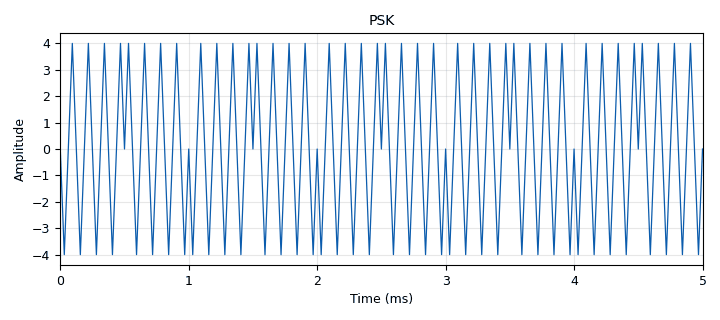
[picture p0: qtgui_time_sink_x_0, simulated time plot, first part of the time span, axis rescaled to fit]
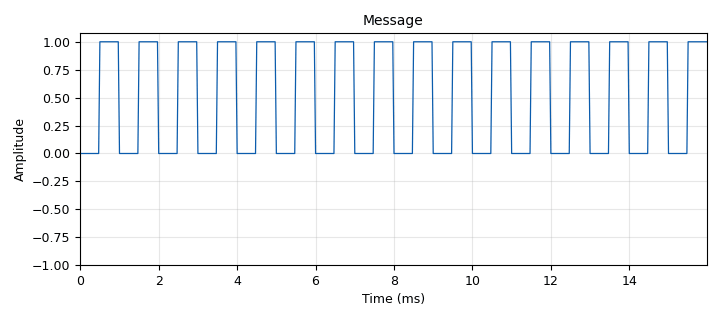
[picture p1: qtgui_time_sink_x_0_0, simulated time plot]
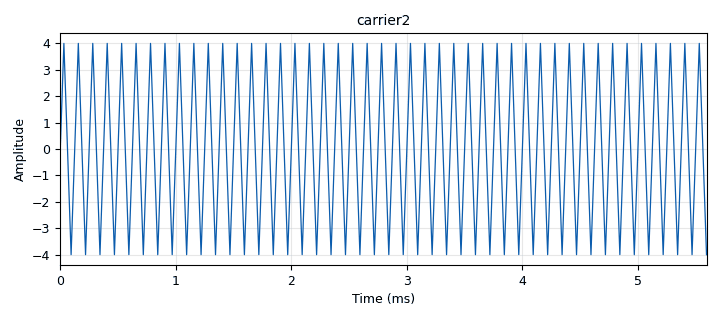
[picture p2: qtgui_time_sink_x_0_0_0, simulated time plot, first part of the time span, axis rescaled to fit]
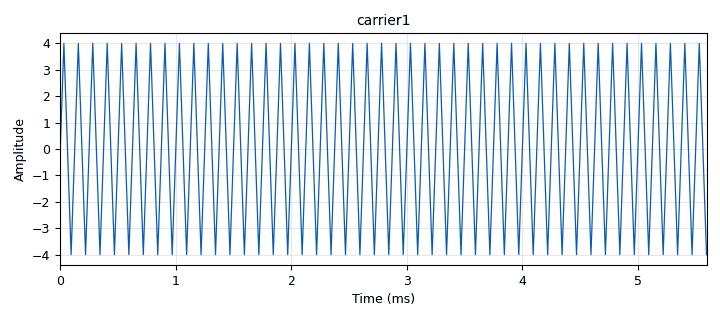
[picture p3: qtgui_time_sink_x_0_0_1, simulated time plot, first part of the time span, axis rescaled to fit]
<?xml version='1.0' encoding='utf-8'?>
<?grc format='1' created='3.7.9'?>
<flow_graph>
<block>
<key>options</key>
<param><key>id</key><value>top_block</value></param>
<param><key>category</key><value>Custom</value></param>
<param><key>generate_options</key><value>qt_gui</value></param>
</block>
<block>
<key>variable</key>
<param><key>id</key><value>numpoints</value></param>
<param><key>value</key><value>512</value></param>
</block>
<block>
<key>variable</key>
<param><key>id</key><value>samp_rate</value></param>
<param><key>value</key><value>32000</value></param>
</block>
<block>
<key>analog_sig_source_x</key>
<param><key>id</key><value>Carrier</value></param>
<param><key>amp</key><value>4</value></param>
<param><key>freq</key><value>8000</value></param>
<param><key>offset</key><value>0</value></param>
<param><key>type</key><value>float</value></param>
<param><key>samp_rate</key><value>samp_rate</value></param>
<param><key>waveform</key><value>analog.GR_SIN_WAVE</value></param>
</block>
<block>
<key>analog_sig_source_x</key>
<param><key>id</key><value>Message</value></param>
<param><key>amp</key><value>1</value></param>
<param><key>freq</key><value>1000</value></param>
<param><key>offset</key><value>0</value></param>
<param><key>type</key><value>float</value></param>
<param><key>samp_rate</key><value>samp_rate</value></param>
<param><key>waveform</key><value>analog.GR_SQR_WAVE</value></param>
</block>
<block>
<key>analog_sig_source_x</key>
<param><key>id</key><value>analog_sig_source_x_0</value></param>
<param><key>amp</key><value>4</value></param>
<param><key>freq</key><value>8000</value></param>
<param><key>offset</key><value>0</value></param>
<param><key>type</key><value>float</value></param>
<param><key>samp_rate</key><value>samp_rate</value></param>
<param><key>waveform</key><value>analog.GR_SIN_WAVE</value></param>
</block>
<block>
<key>blocks_add_xx</key>
<param><key>id</key><value>blocks_add_xx_0</value></param>
<param><key>type</key><value>float</value></param>
</block>
<block>
<key>blocks_delay</key>
<param><key>id</key><value>blocks_delay_0</value></param>
<param><key>delay</key><value>16</value></param>
<param><key>type</key><value>float</value></param>
</block>
<block>
<key>blocks_delay</key>
<param><key>id</key><value>blocks_delay_0_0</value></param>
<param><key>delay</key><value>2</value></param>
<param><key>type</key><value>float</value></param>
</block>
<block>
<key>blocks_multiply_xx</key>
<param><key>id</key><value>blocks_multiply_xx_0</value></param>
<param><key>type</key><value>float</value></param>
</block>
<block>
<key>blocks_multiply_xx</key>
<param><key>id</key><value>blocks_multiply_xx_1</value></param>
<param><key>type</key><value>float</value></param>
</block>
<block>
<key>blocks_throttle</key>
<param><key>id</key><value>blocks_throttle_0</value></param>
<param><key>samples_per_second</key><value>samp_rate</value></param>
<param><key>type</key><value>float</value></param>
</block>
<block>
<key>qtgui_time_sink_x</key>
<param><key>id</key><value>qtgui_time_sink_x_0</value></param>
<param><key>color1</key><value>"blue"</value></param>
<param><key>label1</key><value></value></param>
<param><key>name</key><value>PSK</value></param>
<param><key>size</key><value>numpoints</value></param>
<param><key>srate</key><value>samp_rate</value></param>
<param><key>type</key><value>float</value></param>
</block>
<block>
<key>qtgui_time_sink_x</key>
<param><key>id</key><value>qtgui_time_sink_x_0_0</value></param>
<param><key>color1</key><value>"blue"</value></param>
<param><key>label1</key><value></value></param>
<param><key>name</key><value>Message</value></param>
<param><key>size</key><value>numpoints</value></param>
<param><key>srate</key><value>samp_rate</value></param>
<param><key>type</key><value>float</value></param>
</block>
<block>
<key>qtgui_time_sink_x</key>
<param><key>id</key><value>qtgui_time_sink_x_0_0_0</value></param>
<param><key>color1</key><value>"blue"</value></param>
<param><key>label1</key><value></value></param>
<param><key>name</key><value>carrier2</value></param>
<param><key>size</key><value>numpoints</value></param>
<param><key>srate</key><value>samp_rate</value></param>
<param><key>type</key><value>float</value></param>
</block>
<block>
<key>qtgui_time_sink_x</key>
<param><key>id</key><value>qtgui_time_sink_x_0_0_1</value></param>
<param><key>color1</key><value>"blue"</value></param>
<param><key>label1</key><value></value></param>
<param><key>name</key><value>carrier1</value></param>
<param><key>size</key><value>numpoints</value></param>
<param><key>srate</key><value>samp_rate</value></param>
<param><key>type</key><value>float</value></param>
</block>
<connection><source_block_id>Carrier</source_block_id><sink_block_id>blocks_multiply_xx_0</sink_block_id><source_key>0</source_key><sink_key>0</sink_key></connection>
<connection><source_block_id>Carrier</source_block_id><sink_block_id>qtgui_time_sink_x_0_0_0</sink_block_id><source_key>0</source_key><sink_key>0</sink_key></connection>
<connection><source_block_id>Message</source_block_id><sink_block_id>blocks_delay_0</sink_block_id><source_key>0</source_key><sink_key>0</sink_key></connection>
<connection><source_block_id>Message</source_block_id><sink_block_id>blocks_multiply_xx_0</sink_block_id><source_key>0</source_key><sink_key>1</sink_key></connection>
<connection><source_block_id>Message</source_block_id><sink_block_id>qtgui_time_sink_x_0_0</sink_block_id><source_key>0</source_key><sink_key>0</sink_key></connection>
<connection><source_block_id>analog_sig_source_x_0</source_block_id><sink_block_id>blocks_delay_0_0</sink_block_id><source_key>0</source_key><sink_key>0</sink_key></connection>
<connection><source_block_id>analog_sig_source_x_0</source_block_id><sink_block_id>qtgui_time_sink_x_0_0_1</sink_block_id><source_key>0</source_key><sink_key>0</sink_key></connection>
<connection><source_block_id>blocks_add_xx_0</source_block_id><sink_block_id>blocks_throttle_0</sink_block_id><source_key>0</source_key><sink_key>0</sink_key></connection>
<connection><source_block_id>blocks_delay_0</source_block_id><sink_block_id>blocks_multiply_xx_1</sink_block_id><source_key>0</source_key><sink_key>0</sink_key></connection>
<connection><source_block_id>blocks_delay_0_0</source_block_id><sink_block_id>blocks_multiply_xx_1</sink_block_id><source_key>0</source_key><sink_key>1</sink_key></connection>
<connection><source_block_id>blocks_multiply_xx_0</source_block_id><sink_block_id>blocks_add_xx_0</sink_block_id><source_key>0</source_key><sink_key>0</sink_key></connection>
<connection><source_block_id>blocks_multiply_xx_1</source_block_id><sink_block_id>blocks_add_xx_0</sink_block_id><source_key>0</source_key><sink_key>1</sink_key></connection>
<connection><source_block_id>blocks_throttle_0</source_block_id><sink_block_id>qtgui_time_sink_x_0</sink_block_id><source_key>0</source_key><sink_key>0</sink_key></connection>
</flow_graph>
